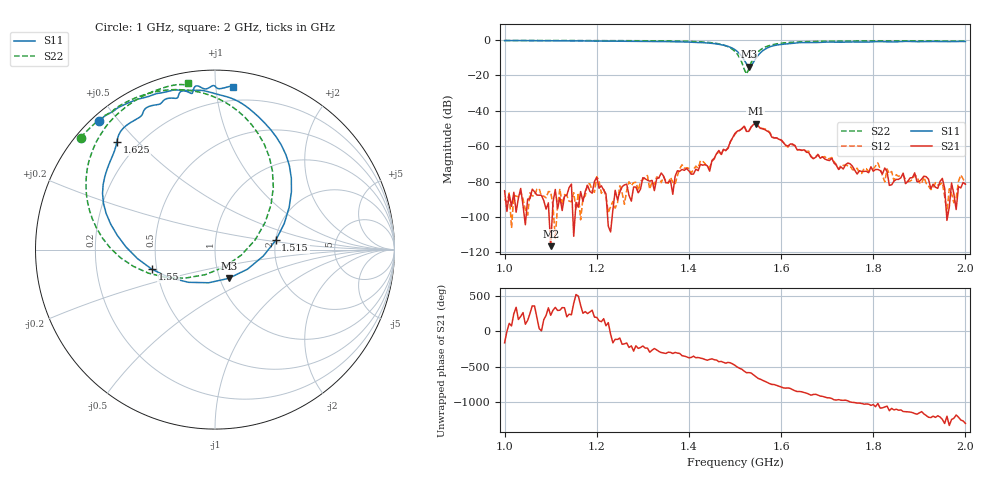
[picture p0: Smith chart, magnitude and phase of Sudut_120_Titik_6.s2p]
# Hz S RI R 50
! CMT, C1220, 16058040, 17.2.0/1
! Date: 14/08/2018 12:21:44
! Data: Format (Calibration Info)
! Freq  S11: Re/Im (F2)  S21: Re/Im (F2)  S12: Re/Im (F2)  S22: Re/Im (F2)
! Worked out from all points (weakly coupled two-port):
!   201 points, 1 GHz to 2 GHz, reference 50 ohm
!   highest |S21| = -47.23 dB at 1.545 GHz (marker M1); lowest = -116.5 dB at 1.1 GHz (marker M2)
!   lowest |S11| = -15.0 dB at 1.53 GHz (marker M3), VSWR 1.43, Z = 55.2 - j18.2 ohm
!   |S11| at or under -10 dB: 1.517 GHz to 1.546 GHz (29.67 MHz wide, 1.94 % of centre)
!   |S22| runs from -19.2 to -0.2 dB; largest |S21 - S12| = 0.00017
!   S11 on the Smith chart (normalised r, x): 1 GHz: 0.02, +0.44; 1.515 GHz: 2.00, +0.23; 1.55 GHz: 0.47, -0.12; 1.625 GHz: 0.12, +0.44; 2 GHz: 0.11, +1.11
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1e9  -0.6448 0.7158  -5.31e-05 -1.43e-05  -9.9e-06 -3.01e-05  -0.7479 0.6241
1.1e9  -0.5489 0.7848  -1.09e-06 -1.02e-06  5.16e-05 4.96e-07  -0.6752 0.6983
1.17e9  -0.4668 0.8238  -8.59e-06 -2.6e-05  -2.86e-05 -1.82e-05  -0.6115 0.7486
1.335e9  -0.2 0.8882  3.85e-05 0.000123  7.88e-06 0.000127  -0.3966 0.8621
1.37e9  -0.0957 0.8881  7.09e-05 0.000122  2.94e-05 7.83e-05  -0.3162 0.8823
1.385e9  -0.0614 0.8851  0.000214 5.35e-05  0.000272 0.000128  -0.2725 0.8885
1.425e9  0.0864 0.845  0.000287 -0.000106  0.000359 -0.000144  -0.1155 0.8827
1.445e9  0.1681 0.8018  0.000155 -0.000122  0.000164 -0.00019  -0.00642 0.8514
1.5e9  0.4257 0.3217  -0.00125 -0.00193  -0.0012 -0.00181  0.3249 0.3472
1.515e9  0.3382 0.0514  -0.00313 -0.000121  -0.00311 -0.000238  0.224 0.0544
1.53e9  0.077 -0.1601  -0.00187 0.00184  -0.00191 0.00184  -0.0556 -0.14
1.545e9  -0.2548 -0.1558  0.000847 0.00427  0.000718 0.00421  -0.3719 -0.1308
1.55e9  -0.3511 -0.1098  0.0022 0.00304  0.00207 0.00311  -0.4555 -0.093
1.625e9  -0.5469 0.5988  -0.000308 -0.00111  -0.000219 -0.00106  -0.6934 0.5212
1.67e9  -0.421 0.7367  -0.000439 -5.67e-05  -0.000446 -8.13e-05  -0.6183 0.6704
1.775e9  -0.2193 0.8426  9.45e-05 0.000167  8.24e-05 0.000149  -0.4551 0.8243
1.81e9  -0.1844 0.8841  0.000109 0.000191  0.000192 0.000277  -0.4049 0.8536
1.825e9  -0.1519 0.879  0.000238 4.23e-05  9.79e-05 5.01e-06  -0.3843 0.863
1.83e9  -0.1414 0.874  0.000176 7.31e-05  0.000224 -4.26e-05  -0.3779 0.8665
1.835e9  -0.1333 0.8704  5.83e-05 -5.19e-05  0.000149 -7.85e-05  -0.3712 0.8699
1.89e9  -0.069 0.8989  2.75e-05 -0.000174  9.63e-05 -0.00012  -0.2939 0.8996
2e9  0.0981 0.9041  -6.37e-05 5.49e-05  -7.15e-05 4.33e-05  -0.1491 0.9277
